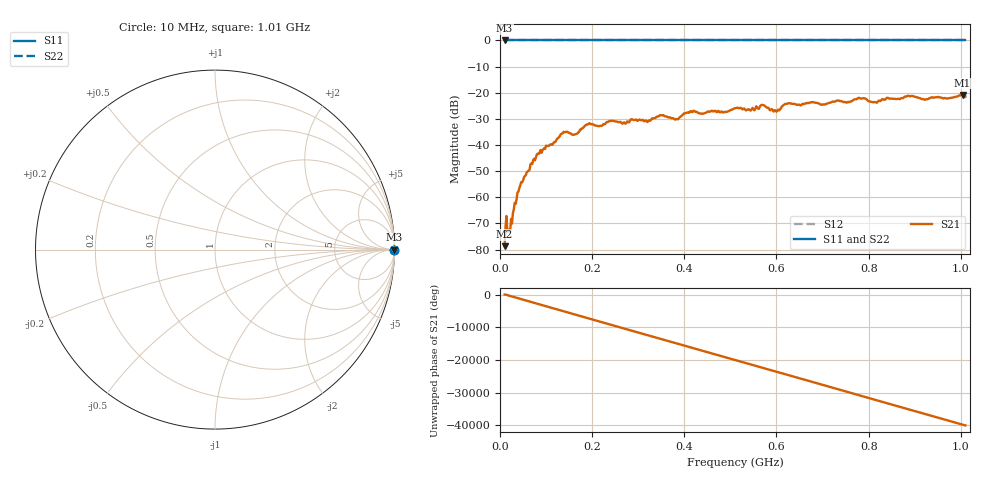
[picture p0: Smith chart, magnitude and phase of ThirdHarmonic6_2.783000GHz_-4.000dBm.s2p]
! 8/17/2025 7:08:53 AM
! C:\ANRITSUVNA\TEMP\TEMP.S2P
! CHANNEL.1
! TR.MEASUREMENT
! RAW.DATA
! RF.CORRECTION.OFF
! AVERAGING.OFF
! IF.BANDWIDTH: 5KHZ
! SWEEPTYPE:  FREQ.SWEEP(Linear)
! Reference Plane Port Info
! PORT:  PORT1  PORT2
! DISTANCE:  0  m  0  m
! TIME:  0  s  0  s
! PHASE.OFFSET:  0  deg.  0  deg.
! LOSS:  0  dB  0  dB
! REF.LOSS:  0  dB  0  dB
! REF.FREQ:  0  Hz  0  Hz
! Power Info
! POWER:  -20  dBm  -20  dBm
! EFF.POWER:  -20  dBm  -20  dBm
! SOURCE.ATTEN:  0  dB  0  dB
! TEST.ATTEN:  0  dB  0  dB
# GHZ S RI R 50.0
! FREQ.GHZ  S11RE  S11IM  S21RE  S21IM  S12RE  S12IM  S22RE  S22IM
!; PortSelection: Port_12
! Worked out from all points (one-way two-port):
!   501 points, 10 MHz to 1.01 GHz, reference 50 ohm
!   highest |S21| = -20.82 dB at 1.004 GHz (marker M1); lowest = -78.7 dB at 10 MHz (marker M2)
!   lowest |S11| = 0.0 dB at 10 MHz (marker M3)
!   |S11| at or under -10 dB: nowhere
!   |S22| runs from 0.0 to 0.0 dB; largest |S21 - S12| = 1.1
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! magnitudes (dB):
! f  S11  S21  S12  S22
! 10 MHz  0.0  -78.7  0.0  0.0
! 16 MHz  0.0  -73.2  0.0  0.0
! 22 MHz  0.0  -73.2  0.0  0.0
! 42 MHz  0.0  -56.5  0.0  0.0
! 84 MHz  0.0  -43.4  0.0  0.0
! 136 MHz  0.0  -35.6  0.0  0.0
! 162 MHz  0.0  -36.0  0.0  0.0
! 178 MHz  0.0  -33.6  0.0  0.0
! 192 MHz  0.0  -32.0  0.0  0.0
! 322 MHz  0.0  -30.8  0.0  0.0
! 344 MHz  0.0  -29.1  0.0  0.0
! 384 MHz  0.0  -30.0  0.0  0.0
! 416 MHz  0.0  -27.4  0.0  0.0
! 510 MHz  0.0  -25.9  0.0  0.0
! 570 MHz  0.0  -24.7  0.0  0.0
! 598 MHz  0.0  -26.8  0.0  0.0
! 622 MHz  0.0  -24.3  0.0  0.0
! 678 MHz  0.0  -23.6  0.0  0.0
! 814 MHz  0.0  -23.6  0.0  0.0
! 844 MHz  0.0  -22.2  0.0  0.0
! 1.004 GHz  0.0  -20.8  0.0  0.0
! 1.01 GHz  0.0  -21.5  0.0  0.0
